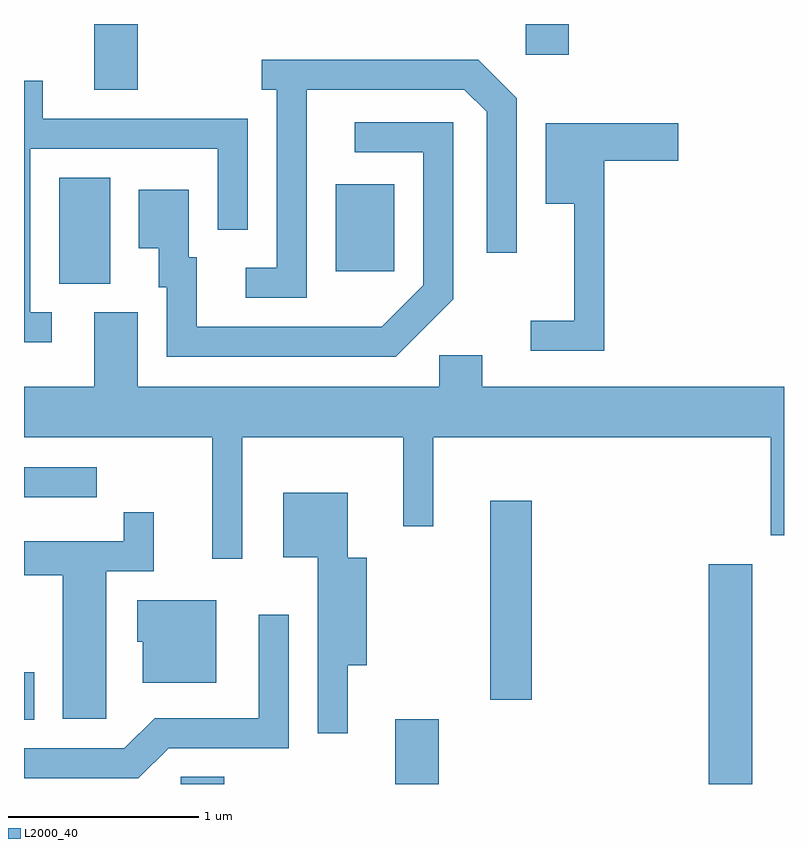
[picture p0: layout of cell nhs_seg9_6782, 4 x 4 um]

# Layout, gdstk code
import gdstk
lib = gdstk.Library(unit=1e-6, precision=1e-09)
def R(c, l, rs):  # rectangles x0, y0, x1, y1
    for r in rs: c.add(gdstk.rectangle(r[:2], r[2:], *l))
def P(c, l, *ps):  # polygons
    for p in ps: c.add(gdstk.Polygon(p, *l))
L2000_40 = (2000, 40)

nhs_seg9_6782 = lib.new_cell('nhs_seg9_6782')
R(nhs_seg9_6782, L2000_40, [(386.436,1994.432,386.664,1994.469), (387.566,1994.432,387.794,1994.774), (389.216,1994.432,389.444,1995.589), (385.611,1994.771,385.664,1995.019), (388.066,1994.876,388.284,1995.924), (385.611,1995.941,385.993,1996.099), (385.796,1997.066,386.064,1997.624), (387.251,1997.131,387.559,1997.589), (385.981,1998.086,386.209,1998.432), (388.251,1998.271,388.479,1998.432)])
P(nhs_seg9_6782, L2000_40, [(387.099,1998.086),(387.929,1998.086),(388.046,1997.969),(388.046,1997.228),(388.204,1997.228),(388.204,1998.042),(388.002,1998.244),(386.863,1998.244),(386.863,1998.086),(386.941,1998.086),(386.941,1997.149),(386.778,1997.149),(386.778,1996.991),(387.099,1996.991)],
  [(385.758,1996.914),(385.644,1996.914),(385.644,1997.776),(386.631,1997.776),(386.631,1997.348),(386.789,1997.348),(386.789,1997.934),(385.709,1997.934),(385.709,1998.134),(385.611,1998.134),(385.611,1996.756),(385.758,1996.756)],
  [(387.869,1996.984),(387.869,1997.914),(387.353,1997.914),(387.353,1997.756),(387.711,1997.756),(387.711,1997.057),(387.494,1996.839),(386.519,1996.839),(386.519,1997.204),(386.479,1997.204),(386.479,1997.559),(386.216,1997.559),(386.216,1997.251),(386.321,1997.251),(386.321,1997.046),(386.361,1997.046),(386.361,1996.681),(387.567,1996.681)],
  [(388.664,1997.711),(389.054,1997.711),(389.054,1997.909),(388.356,1997.909),(388.356,1997.486),(388.506,1997.486),(388.506,1996.869),(388.278,1996.869),(388.278,1996.711),(388.664,1996.711)],
  [(386.759,1996.256),(387.606,1996.256),(387.606,1995.788),(387.764,1995.788),(387.764,1996.256),(389.541,1996.256),(389.541,1995.741),(389.611,1995.741),(389.611,1996.524),(388.024,1996.524),(388.024,1996.689),(387.796,1996.689),(387.796,1996.524),(386.209,1996.524),(386.209,1996.914),(385.981,1996.914),(385.981,1996.524),(385.611,1996.524),(385.611,1996.256),(386.601,1996.256),(386.601,1995.618),(386.759,1995.618)],
  [(387.314,1995.056),(387.414,1995.056),(387.414,1995.624),(387.314,1995.624),(387.314,1995.964),(386.976,1995.964),(386.976,1995.626),(387.156,1995.626),(387.156,1994.698),(387.314,1994.698)],
  [(386.044,1995.551),(386.294,1995.551),(386.294,1995.863),(386.136,1995.863),(386.136,1995.709),(385.611,1995.709),(385.611,1995.531),(385.816,1995.531),(385.816,1994.776),(386.044,1994.776)],
  [(386.624,1995.399),(386.206,1995.399),(386.206,1995.181),(386.236,1995.181),(386.236,1994.966),(386.624,1994.966)],
  [(386.372,1994.621),(387.004,1994.621),(387.004,1995.323),(386.846,1995.323),(386.846,1994.779),(386.299,1994.779),(386.139,1994.619),(385.611,1994.619),(385.611,1994.461),(386.212,1994.461)])

lib.write_gds('nhs_seg9_6782.gds')
